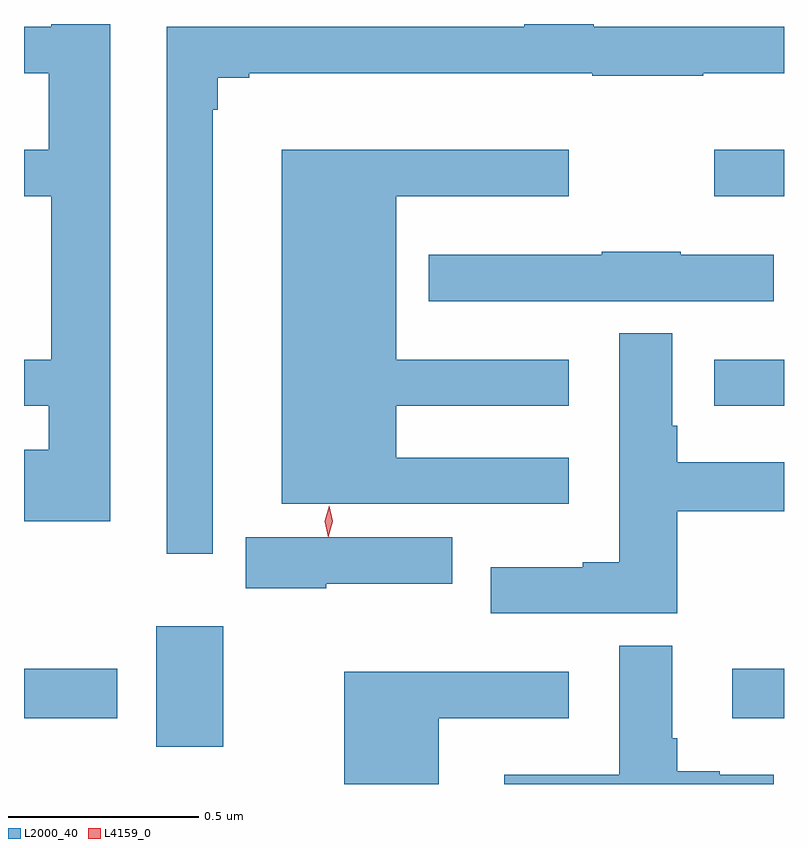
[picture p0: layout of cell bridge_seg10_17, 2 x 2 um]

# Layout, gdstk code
import gdstk
lib = gdstk.Library(unit=1e-6, precision=1e-09)
def R(c, l, rs):  # rectangles x0, y0, x1, y1
    for r in rs: c.add(gdstk.rectangle(r[:2], r[2:], *l))
def P(c, l, *ps):  # polygons
    for p in ps: c.add(gdstk.Polygon(p, *l))
L2000_40 = (2000, 40)
L4159_0 = (4159, 0)

bridge_seg10_17 = lib.new_cell('bridge_seg10_17')
R(bridge_seg10_17, L2000_40, [(1052.09,1327.325,1052.266,1327.642), (1051.742,1327.4,1051.987,1327.53), (1053.606,1327.4,1053.742,1327.53), (1053.558,1328.222,1053.742,1328.344), (1053.558,1328.774,1053.742,1328.896)])
P(bridge_seg10_17, L2000_40, [(1051.969,1329.227),(1051.814,1329.227),(1051.814,1329.22),(1051.742,1329.22),(1051.742,1329.098),(1051.807,1329.098),(1051.807,1328.896),(1051.742,1328.896),(1051.742,1328.774),(1051.814,1328.774),(1051.814,1328.344),(1051.742,1328.344),(1051.742,1328.222),(1051.807,1328.222),(1051.807,1328.107),(1051.742,1328.107),(1051.742,1327.919),(1051.969,1327.919)],
  [(1052.239,1329.002),(1052.252,1329.002),(1052.252,1329.086),(1052.335,1329.086),(1052.335,1329.098),(1053.237,1329.098),(1053.237,1329.091),(1053.53,1329.091),(1053.53,1329.098),(1053.742,1329.098),(1053.742,1329.22),(1053.241,1329.22),(1053.241,1329.227),(1053.059,1329.227),(1053.059,1329.22),(1052.117,1329.22),(1052.117,1327.833),(1052.239,1327.833)],
  [(1053.175,1328.086),(1052.722,1328.086),(1052.722,1328.222),(1053.175,1328.222),(1053.175,1328.344),(1052.722,1328.344),(1052.722,1328.774),(1053.175,1328.774),(1053.175,1328.896),(1052.42,1328.896),(1052.42,1327.964),(1053.175,1327.964)],
  [(1053.715,1328.62),(1053.47,1328.62),(1053.47,1328.628),(1053.262,1328.628),(1053.262,1328.62),(1052.807,1328.62),(1052.807,1328.498),(1053.715,1328.498)],
  [(1053.461,1327.945),(1053.742,1327.945),(1053.742,1328.074),(1053.461,1328.074),(1053.461,1328.17),(1053.448,1328.17),(1053.448,1328.413),(1053.308,1328.413),(1053.308,1327.811),(1053.212,1327.811),(1053.212,1327.798),(1052.97,1327.798),(1052.97,1327.676),(1053.461,1327.676)],
  [(1052.537,1327.754),(1052.869,1327.754),(1052.869,1327.876),(1052.325,1327.876),(1052.325,1327.742),(1052.537,1327.742)],
  [(1053.715,1327.252),(1053.573,1327.252),(1053.573,1327.26),(1053.461,1327.26),(1053.461,1327.348),(1053.448,1327.348),(1053.448,1327.591),(1053.308,1327.591),(1053.308,1327.252),(1053.006,1327.252),(1053.006,1327.227),(1053.715,1327.227)],
  [(1052.833,1327.4),(1053.175,1327.4),(1053.175,1327.522),(1052.585,1327.522),(1052.585,1327.227),(1052.833,1327.227)])
P(bridge_seg10_17, L4159_0, [(1052.542,1327.877),(1052.534,1327.918),(1052.545,1327.959),(1052.545,1327.959),(1052.545,1327.959),(1052.554,1327.918),(1052.543,1327.877),(1052.543,1327.877)])

lib.write_gds('bridge_seg10_17.gds')
